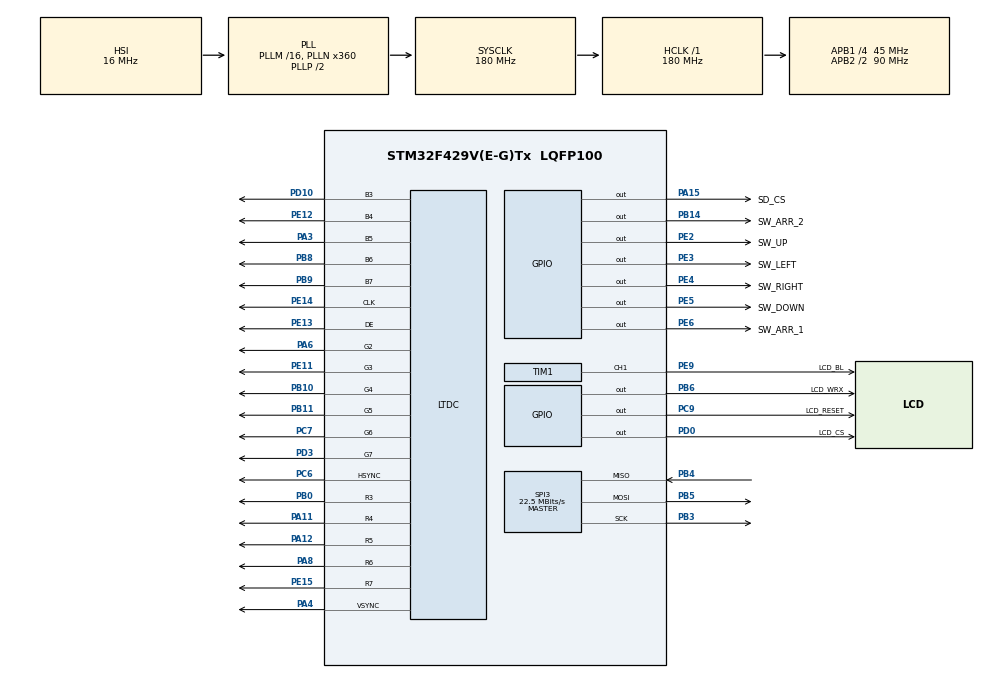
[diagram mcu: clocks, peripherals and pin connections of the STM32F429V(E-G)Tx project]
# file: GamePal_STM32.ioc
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Dma.Request0=SPI3_RX
Dma.Request1=SPI3_TX
Dma.SPI3_RX.0.Direction=DMA_PERIPH_TO_MEMORY
Dma.SPI3_RX.0.FIFOMode=DMA_FIFOMODE_DISABLE
Dma.SPI3_RX.0.Instance=DMA1_Stream2
Dma.SPI3_RX.0.MemDataAlignment=DMA_MDATAALIGN_BYTE
Dma.SPI3_RX.0.MemInc=DMA_MINC_ENABLE
Dma.SPI3_RX.0.Mode=DMA_NORMAL
Dma.SPI3_RX.0.PeriphDataAlignment=DMA_PDATAALIGN_BYTE
Dma.SPI3_RX.0.PeriphInc=DMA_PINC_DISABLE
Dma.SPI3_RX.0.Priority=DMA_PRIORITY_LOW
Dma.SPI3_TX.1.Direction=DMA_MEMORY_TO_PERIPH
Dma.SPI3_TX.1.FIFOMode=DMA_FIFOMODE_DISABLE
Dma.SPI3_TX.1.Instance=DMA1_Stream5
Dma.SPI3_TX.1.MemDataAlignment=DMA_MDATAALIGN_BYTE
Dma.SPI3_TX.1.MemInc=DMA_MINC_ENABLE
Dma.SPI3_TX.1.Mode=DMA_NORMAL
Dma.SPI3_TX.1.PeriphDataAlignment=DMA_PDATAALIGN_BYTE
Dma.SPI3_TX.1.PeriphInc=DMA_PINC_DISABLE
Dma.SPI3_TX.1.Priority=DMA_PRIORITY_LOW
LTDC.ActiveH=320
LTDC.ActiveW=240
LTDC.Alpha_L0=255
LTDC.BlendingFactor1_L0=LTDC_BLENDING_FACTOR1_CA
LTDC.BlendingFactor2_L0=LTDC_BLENDING_FACTOR2_CA
LTDC.Blue_L0=0
LTDC.DEPolarity=LTDC_DEPOLARITY_AL
LTDC.Green=0
LTDC.Green_L0=0
LTDC.HBP=10
LTDC.HFP=38
LTDC.HSync=10
LTDC.ImageHeight_L0=320
LTDC.ImageWidth_L0=240
LTDC.Layers=0
LTDC.PCPolarity=LTDC_PCPOLARITY_IPC
LTDC.PixelFormat_L0=LTDC_PIXEL_FORMAT_RGB565
LTDC.Red=0
LTDC.VBP=4
LTDC.VFP=8
LTDC.VSync=4
LTDC.WindowX1_L0=240
LTDC.WindowY0_L0=0
LTDC.WindowY1_L0=320
Mcu.Family=STM32F4
Mcu.Name=STM32F429V(E-G)Tx
Mcu.Package=LQFP100
NVIC.DMA1_Stream2_IRQn=true\:0\:0\:false\:false\:true\:false\:true\:true
NVIC.DMA1_Stream5_IRQn=true\:0\:0\:false\:false\:true\:false\:true\:true
NVIC.PriorityGroup=NVIC_PRIORITYGROUP_4
PA11.GPIO_Speed=GPIO_SPEED_FREQ_VERY_HIGH
PA11.Mode=RGB565
PA11.Signal=LTDC_R4
PA12.GPIO_Speed=GPIO_SPEED_FREQ_VERY_HIGH
PA12.Mode=RGB565
PA12.Signal=LTDC_R5
PA13.Mode=Serial_Wire
PA13.Signal=SYS_JTMS-SWDIO
PA14.Mode=Serial_Wire
PA14.Signal=SYS_JTCK-SWCLK
PA15.GPIO_Label=SD_CS
PA15.GPIO_Speed=GPIO_SPEED_FREQ_HIGH
PA15.Signal=GPIO_Output
PA3.GPIO_Speed=GPIO_SPEED_FREQ_VERY_HIGH
PA3.Mode=RGB565
PA3.Signal=LTDC_B5
PA4.GPIO_Speed=GPIO_SPEED_FREQ_VERY_HIGH
PA4.Mode=RGB565
PA4.Signal=LTDC_VSYNC
PA6.GPIO_Speed=GPIO_SPEED_FREQ_VERY_HIGH
PA6.Mode=RGB565
PA6.Signal=LTDC_G2
PA8.GPIO_Speed=GPIO_SPEED_FREQ_VERY_HIGH
PA8.Mode=RGB565
PA8.Signal=LTDC_R6
PB0.GPIO_Speed=GPIO_SPEED_FREQ_VERY_HIGH
PB0.Mode=RGB565
PB0.Signal=LTDC_R3
PB10.GPIO_Speed=GPIO_SPEED_FREQ_VERY_HIGH
PB10.Mode=RGB565
PB10.Signal=LTDC_G4
PB11.GPIO_Speed=GPIO_SPEED_FREQ_VERY_HIGH
PB11.Mode=RGB565
PB11.Signal=LTDC_G5
PB14.GPIO_Label=SW_ARR_2
PB14.Signal=GPIO_Output
PB3.Mode=Full_Duplex_Master
PB3.Signal=SPI3_SCK
PB4.Mode=Full_Duplex_Master
PB4.Signal=SPI3_MISO
PB5.Mode=Full_Duplex_Master
PB5.Signal=SPI3_MOSI
PB6.GPIO_Label=LCD_WRX
PB6.GPIO_Speed=GPIO_SPEED_FREQ_HIGH
PB6.PinState=GPIO_PIN_SET
PB6.Signal=GPIO_Output
PB8.GPIO_Speed=GPIO_SPEED_FREQ_VERY_HIGH
PB8.Mode=RGB565
PB8.Signal=LTDC_B6
PB9.GPIO_Speed=GPIO_SPEED_FREQ_VERY_HIGH
PB9.Mode=RGB565
PB9.Signal=LTDC_B7
PC6.GPIO_Speed=GPIO_SPEED_FREQ_VERY_HIGH
PC6.Mode=RGB565
PC6.Signal=LTDC_HSYNC
PC7.GPIO_Speed=GPIO_SPEED_FREQ_VERY_HIGH
PC7.Mode=RGB565
PC7.Signal=LTDC_G6
PC9.GPIO_Label=LCD_RESET
PC9.PinState=GPIO_PIN_SET
PC9.Signal=GPIO_Output
PD0.GPIO_Label=LCD_CS
PD0.GPIO_Speed=GPIO_SPEED_FREQ_HIGH
PD0.PinState=GPIO_PIN_SET
PD0.Signal=GPIO_Output
PD10.GPIO_Speed=GPIO_SPEED_FREQ_VERY_HIGH
PD10.Mode=RGB565
PD10.Signal=LTDC_B3
PD3.GPIO_Speed=GPIO_SPEED_FREQ_VERY_HIGH
PD3.Mode=RGB565
PD3.Signal=LTDC_G7
PE11.GPIO_Speed=GPIO_SPEED_FREQ_VERY_HIGH
PE11.Mode=RGB565
PE11.Signal=LTDC_G3
PE12.GPIO_Speed=GPIO_SPEED_FREQ_VERY_HIGH
PE12.Mode=RGB565
PE12.Signal=LTDC_B4
PE13.GPIO_Speed=GPIO_SPEED_FREQ_VERY_HIGH
PE13.Mode=RGB565
PE13.Signal=LTDC_DE
PE14.GPIO_Speed=GPIO_SPEED_FREQ_VERY_HIGH
PE14.Mode=RGB565
PE14.Signal=LTDC_CLK
PE15.GPIO_Speed=GPIO_SPEED_FREQ_VERY_HIGH
PE15.Mode=RGB565
PE15.Signal=LTDC_R7
PE2.GPIO_Label=SW_UP
PE2.Signal=GPIO_Output
PE3.GPIO_Label=SW_LEFT
PE3.Signal=GPIO_Output
PE4.GPIO_Label=SW_RIGHT
PE4.Signal=GPIO_Output
PE5.GPIO_Label=SW_DOWN
PE5.Signal=GPIO_Output
PE6.GPIO_Label=SW_ARR_1
PE6.Signal=GPIO_Output
PE9.GPIO_Label=LCD_BL
PE9.Signal=S_TIM1_CH1
ProjectManager.HeapSize=0x200
ProjectManager.StackSize=0x400
ProjectManager.TargetToolchain=STM32CubeIDE
RCC.48MHZClocksFreq_Value=90000000
RCC.AHBFreq_Value=180000000
RCC.APB1CLKDivider=RCC_HCLK_DIV4
RCC.APB1Freq_Value=45000000
RCC.APB1TimFreq_Value=90000000
RCC.APB2CLKDivider=RCC_HCLK_DIV2
RCC.APB2Freq_Value=90000000
RCC.APB2TimFreq_Value=180000000
RCC.CortexFreq_Value=180000000
RCC.HCLKFreq_Value=180000000
RCC.HSE_VALUE=25000000
RCC.HSI_VALUE=16000000
RCC.LSE_VALUE=32768
RCC.PLLN=360
RCC.PLLSAIN=140
RCC.PLLSAIR=5
RCC.SYSCLKFreq_VALUE=180000000
RCC.SYSCLKSource=RCC_SYSCLKSOURCE_PLLCLK
RCC.VCOOutputFreq_Value=360000000
SH.S_TIM1_CH1.0=TIM1_CH1,PWM Generation1 CH1
SPI3.BaudRatePrescaler=SPI_BAUDRATEPRESCALER_2
SPI3.CalculateBaudRate=22.5 MBits/s
SPI3.DataSize=SPI_DATASIZE_8BIT
SPI3.Direction=SPI_DIRECTION_2LINES
SPI3.Mode=SPI_MODE_MASTER
SPI3.VirtualType=VM_MASTER
TIM1.Channel-PWM\ Generation1\ CH1=TIM_CHANNEL_1
TIM1.Period=99
TIM1.Prescaler=15
board=custom

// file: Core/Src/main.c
/* USER CODE BEGIN Header */
/**
  ******************************************************************************
  * @file           : main.c
  * @brief          : Main program body
  ******************************************************************************
  * @attention
  *
  * Copyright (c) 2025 STMicroelectronics.
  * All rights reserved.
  *
  * This software is licensed under terms that can be found in the LICENSE file
  * in the root directory of this software component.
  * If no LICENSE file comes with this software, it is provided AS-IS.
  *
  ******************************************************************************
  */

/**
 * @file    main.c
 * @author  Atharv More, Mayuresh Pitale
 * @brief   Main file of the GamePal project.
 *          This file lets you select the game and runs that game.
 *
 *          This file is partially generated by STM32CubeMX.
 *          All the initialization code for peripherals is generated by STM32CubeMX.
 *
 * @date 2025-12-01
 *
 */

/* USER CODE END Header */
#include "main.h"

/* USER CODE BEGIN Includes */
#include "TFT_LCD.h"
#include "st7789v.h"
#include "User_Interface.h"
#include "Games/T_rex/T_rex.h"
#include "Games/Snake_game/Snake_game.h"

/* USER CODE END Includes */

/* USER CODE BEGIN PTD */

typedef enum
{
  GAME_SNAKE = 0,
  GAME_DINO_JUMP = 1
} GameList_t;

/* USER CODE END PTD */

/* USER CODE BEGIN PD */
#define Display_Game_List_Text_pos_x	10
#define Display_Game_List_Text_pos_y	10

#define LCD_BG_COLOR              0xFFFF
#define LCD_MENU_TEXT_COLOR	      0x0000
#define LCD_MENU_HIGHLIGHT_COLOR  0xFFE0

#define LCD_MENU_TEXT_FONT       &Font16
#define LCD_MENU_HEADER_FONT     &Font20

#define TOTAL_GAMES              2

/* USER CODE END PD */

LTDC_HandleTypeDef hltdc;

SPI_HandleTypeDef hspi3;
DMA_HandleTypeDef hdma_spi3_rx;
DMA_HandleTypeDef hdma_spi3_tx;

TIM_HandleTypeDef htim1;

/* USER CODE BEGIN PV */

GameList_t game_select_ind = 0;
uint8_t game_selected = 0;

/* USER CODE END PV */

void SystemClock_Config(void);
static void MX_GPIO_Init(void);
static void MX_DMA_Init(void);
static void MX_SPI3_Init(void);
static void MX_LTDC_Init(void);
static void MX_TIM1_Init(void);
/* USER CODE BEGIN PFP */
void display_game_list();
void select_game();

/* USER CODE END PFP */

int main(void)
{

  /* MCU Configuration--------------------------------------------------------*/

  /* Reset of all peripherals, Initializes the Flash interface and the Systick. */
  HAL_Init();

  /* Configure the system clock */
  SystemClock_Config();

  /* Initialize all configured peripherals */
  MX_GPIO_Init();
  MX_DMA_Init();
  MX_SPI3_Init();
  MX_LTDC_Init();
  MX_TIM1_Init();
  /* USER CODE BEGIN 2 */

  // LCD Display Backlight On
  HAL_TIM_PWM_Start(&htim1, TIM_CHANNEL_1);

  // Reload LTDC configuration
  HAL_LTDC_Reload(&hltdc,LTDC_SRCR_VBR);

  LCD_clear_screen();

  /* USER CODE END 2 */

  /* Infinite loop */
  while (1)
  {

    /* USER CODE BEGIN 3 */

    // Select Game from the Game List
    select_game();

	if(game_select_ind == GAME_SNAKE)
	{
		snake_gamePlay();
		game_selected = 0;
	}
	else if(game_select_ind == GAME_DINO_JUMP)
	{
		T_rex_main();
		game_selected = 0;
	}
  }
  /* USER CODE END 3 */
}

void SystemClock_Config(void)
{
  RCC_OscInitTypeDef RCC_OscInitStruct = {0};
  RCC_ClkInitTypeDef RCC_ClkInitStruct = {0};

  /** Configure the main internal regulator output voltage
  */
  __HAL_RCC_PWR_CLK_ENABLE();
  __HAL_PWR_VOLTAGESCALING_CONFIG(PWR_REGULATOR_VOLTAGE_SCALE1);

  /** Initializes the RCC Oscillators according to the specified parameters
  * in the RCC_OscInitTypeDef structure.
  */
  RCC_OscInitStruct.OscillatorType = RCC_OSCILLATORTYPE_HSI;
  RCC_OscInitStruct.HSIState = RCC_HSI_ON;
  RCC_OscInitStruct.HSICalibrationValue = RCC_HSICALIBRATION_DEFAULT;
  RCC_OscInitStruct.PLL.PLLState = RCC_PLL_ON;
  RCC_OscInitStruct.PLL.PLLSource = RCC_PLLSOURCE_HSI;
  RCC_OscInitStruct.PLL.PLLM = 16;
  RCC_OscInitStruct.PLL.PLLN = 360;
  RCC_OscInitStruct.PLL.PLLP = RCC_PLLP_DIV2;
  RCC_OscInitStruct.PLL.PLLQ = 4;
  if (HAL_RCC_OscConfig(&RCC_OscInitStruct) != HAL_OK)
  {
    Error_Handler();
  }

  /** Activate the Over-Drive mode
  */
  if (HAL_PWREx_EnableOverDrive() != HAL_OK)
  {
    Error_Handler();
  }

  /** Initializes the CPU, AHB and APB buses clocks
  */
  RCC_ClkInitStruct.ClockType = RCC_CLOCKTYPE_HCLK|RCC_CLOCKTYPE_SYSCLK
                              |RCC_CLOCKTYPE_PCLK1|RCC_CLOCKTYPE_PCLK2;
  RCC_ClkInitStruct.SYSCLKSource = RCC_SYSCLKSOURCE_PLLCLK;
  RCC_ClkInitStruct.AHBCLKDivider = RCC_SYSCLK_DIV1;
  RCC_ClkInitStruct.APB1CLKDivider = RCC_HCLK_DIV4;
  RCC_ClkInitStruct.APB2CLKDivider = RCC_HCLK_DIV2;

  if (HAL_RCC_ClockConfig(&RCC_ClkInitStruct, FLASH_LATENCY_5) != HAL_OK)
  {
    Error_Handler();
  }
}

static void MX_LTDC_Init(void)
{

  /* USER CODE BEGIN LTDC_Init 0 */
	st7789_Init();

  /* USER CODE END LTDC_Init 0 */

  LTDC_LayerCfgTypeDef pLayerCfg = {0};

  hltdc.Instance = LTDC;
  hltdc.Init.HSPolarity = LTDC_HSPOLARITY_AL;
  hltdc.Init.VSPolarity = LTDC_VSPOLARITY_AL;
  hltdc.Init.DEPolarity = LTDC_DEPOLARITY_AL;
  hltdc.Init.PCPolarity = LTDC_PCPOLARITY_IPC;
  hltdc.Init.HorizontalSync = 9;
  hltdc.Init.VerticalSync = 3;
  hltdc.Init.AccumulatedHBP = 19;
  hltdc.Init.AccumulatedVBP = 7;
  hltdc.Init.AccumulatedActiveW = 259;
  hltdc.Init.AccumulatedActiveH = 327;
  hltdc.Init.TotalWidth = 297;
  hltdc.Init.TotalHeigh = 335;
  hltdc.Init.Backcolor.Blue = 0;
  hltdc.Init.Backcolor.Green = 0;
  hltdc.Init.Backcolor.Red = 0;
  if (HAL_LTDC_Init(&hltdc) != HAL_OK)
  {
    Error_Handler();
  }
  pLayerCfg.WindowX0 = 0;
  pLayerCfg.WindowX1 = 240;
  pLayerCfg.WindowY0 = 0;
  pLayerCfg.WindowY1 = 320;
  pLayerCfg.PixelFormat = LTDC_PIXEL_FORMAT_RGB565;
  pLayerCfg.Alpha = 255;
  pLayerCfg.Alpha0 = 0;
  pLayerCfg.BlendingFactor1 = LTDC_BLENDING_FACTOR1_CA;
  pLayerCfg.BlendingFactor2 = LTDC_BLENDING_FACTOR2_CA;
  pLayerCfg.FBStartAdress = (uint32_t) &LCD_screen_matrix;  // Provide the address of the LCD screen matrix
  pLayerCfg.ImageWidth = 240;
  pLayerCfg.ImageHeight = 320;
  pLayerCfg.Backcolor.Blue = 0;
  pLayerCfg.Backcolor.Green = 0;
  pLayerCfg.Backcolor.Red = 0;
  if (HAL_LTDC_ConfigLayer(&hltdc, &pLayerCfg, 0) != HAL_OK)
  {
    Error_Handler();
  }

}

static void MX_SPI3_Init(void)
{

  /* SPI3 parameter configuration*/
  hspi3.Instance = SPI3;
  hspi3.Init.Mode = SPI_MODE_MASTER;
  hspi3.Init.Direction = SPI_DIRECTION_2LINES;
  hspi3.Init.DataSize = SPI_DATASIZE_8BIT;
  hspi3.Init.CLKPolarity = SPI_POLARITY_LOW;
  hspi3.Init.CLKPhase = SPI_PHASE_1EDGE;
  hspi3.Init.NSS = SPI_NSS_SOFT;
  hspi3.Init.BaudRatePrescaler = SPI_BAUDRATEPRESCALER_2;
  hspi3.Init.FirstBit = SPI_FIRSTBIT_MSB;
  hspi3.Init.TIMode = SPI_TIMODE_DISABLE;
  hspi3.Init.CRCCalculation = SPI_CRCCALCULATION_DISABLE;
  hspi3.Init.CRCPolynomial = 10;
  if (HAL_SPI_Init(&hspi3) != HAL_OK)
  {
    Error_Handler();
  }

}

static void MX_TIM1_Init(void)
{

  TIM_MasterConfigTypeDef sMasterConfig = {0};
  TIM_OC_InitTypeDef sConfigOC = {0};
  TIM_BreakDeadTimeConfigTypeDef sBreakDeadTimeConfig = {0};

  htim1.Instance = TIM1;
  htim1.Init.Prescaler = 15;
  htim1.Init.CounterMode = TIM_COUNTERMODE_UP;
  htim1.Init.Period = 99;
  htim1.Init.ClockDivision = TIM_CLOCKDIVISION_DIV1;
  htim1.Init.RepetitionCounter = 0;
  htim1.Init.AutoReloadPreload = TIM_AUTORELOAD_PRELOAD_DISABLE;
  if (HAL_TIM_PWM_Init(&htim1) != HAL_OK)
  {
    Error_Handler();
  }
  sMasterConfig.MasterOutputTrigger = TIM_TRGO_RESET;
  sMasterConfig.MasterSlaveMode = TIM_MASTERSLAVEMODE_DISABLE;
  if (HAL_TIMEx_MasterConfigSynchronization(&htim1, &sMasterConfig) != HAL_OK)
  {
    Error_Handler();
  }
  sConfigOC.OCMode = TIM_OCMODE_PWM1;
  sConfigOC.Pulse = 0;
  sConfigOC.OCPolarity = TIM_OCPOLARITY_HIGH;
  sConfigOC.OCNPolarity = TIM_OCNPOLARITY_HIGH;
  sConfigOC.OCFastMode = TIM_OCFAST_DISABLE;
  sConfigOC.OCIdleState = TIM_OCIDLESTATE_RESET;
  sConfigOC.OCNIdleState = TIM_OCNIDLESTATE_RESET;
  if (HAL_TIM_PWM_ConfigChannel(&htim1, &sConfigOC, TIM_CHANNEL_1) != HAL_OK)
  {
    Error_Handler();
  }
  sBreakDeadTimeConfig.OffStateRunMode = TIM_OSSR_DISABLE;
  sBreakDeadTimeConfig.OffStateIDLEMode = TIM_OSSI_DISABLE;
  sBreakDeadTimeConfig.LockLevel = TIM_LOCKLEVEL_OFF;
  sBreakDeadTimeConfig.DeadTime = 0;
  sBreakDeadTimeConfig.BreakState = TIM_BREAK_DISABLE;
  sBreakDeadTimeConfig.BreakPolarity = TIM_BREAKPOLARITY_HIGH;
  sBreakDeadTimeConfig.AutomaticOutput = TIM_AUTOMATICOUTPUT_DISABLE;
  if (HAL_TIMEx_ConfigBreakDeadTime(&htim1, &sBreakDeadTimeConfig) != HAL_OK)
  {
    Error_Handler();
  }
  /* USER CODE BEGIN TIM1_Init 2 */
  TIM1->CCR1 = 25;

  /* USER CODE END TIM1_Init 2 */
  HAL_TIM_MspPostInit(&htim1);

}

static void MX_DMA_Init(void)
{

  /* DMA controller clock enable */
  __HAL_RCC_DMA1_CLK_ENABLE();

  /* DMA interrupt init */
  /* DMA1_Stream2_IRQn interrupt configuration */
  HAL_NVIC_SetPriority(DMA1_Stream2_IRQn, 0, 0);
  HAL_NVIC_EnableIRQ(DMA1_Stream2_IRQn);
  /* DMA1_Stream5_IRQn interrupt configuration */
  HAL_NVIC_SetPriority(DMA1_Stream5_IRQn, 0, 0);
  HAL_NVIC_EnableIRQ(DMA1_Stream5_IRQn);

}

static void MX_GPIO_Init(void)
{
  GPIO_InitTypeDef GPIO_InitStruct = {0};

  /* GPIO Ports Clock Enable */
  __HAL_RCC_GPIOE_CLK_ENABLE();
  __HAL_RCC_GPIOA_CLK_ENABLE();
  __HAL_RCC_GPIOB_CLK_ENABLE();
  __HAL_RCC_GPIOD_CLK_ENABLE();
  __HAL_RCC_GPIOC_CLK_ENABLE();

  /*Configure GPIO pin Output Level */
  HAL_GPIO_WritePin(GPIOE, SW_UP_Pin|SW_LEFT_Pin|SW_RIGHT_Pin|SW_DOWN_Pin
                          |SW_ARR_1_Pin, GPIO_PIN_RESET);

  /*Configure GPIO pin Output Level */
  HAL_GPIO_WritePin(SW_ARR_2_GPIO_Port, SW_ARR_2_Pin, GPIO_PIN_RESET);

  /*Configure GPIO pin Output Level */
  HAL_GPIO_WritePin(LCD_RESET_GPIO_Port, LCD_RESET_Pin, GPIO_PIN_SET);

  /*Configure GPIO pin Output Level */
  HAL_GPIO_WritePin(SD_CS_GPIO_Port, SD_CS_Pin, GPIO_PIN_RESET);

  /*Configure GPIO pin Output Level */
  HAL_GPIO_WritePin(LCD_CS_GPIO_Port, LCD_CS_Pin, GPIO_PIN_SET);

  /*Configure GPIO pin Output Level */
  HAL_GPIO_WritePin(LCD_WRX_GPIO_Port, LCD_WRX_Pin, GPIO_PIN_SET);

  /*Configure GPIO pins : SW_UP_Pin SW_LEFT_Pin SW_RIGHT_Pin SW_DOWN_Pin
                           SW_ARR_1_Pin */
  GPIO_InitStruct.Pin = SW_UP_Pin|SW_LEFT_Pin|SW_RIGHT_Pin|SW_DOWN_Pin
                          |SW_ARR_1_Pin;
  GPIO_InitStruct.Mode = GPIO_MODE_OUTPUT_PP;
  GPIO_InitStruct.Pull = GPIO_NOPULL;
  GPIO_InitStruct.Speed = GPIO_SPEED_FREQ_LOW;
  HAL_GPIO_Init(GPIOE, &GPIO_InitStruct);

  /*Configure GPIO pin : SW_ARR_2_Pin */
  GPIO_InitStruct.Pin = SW_ARR_2_Pin;
  GPIO_InitStruct.Mode = GPIO_MODE_OUTPUT_PP;
  GPIO_InitStruct.Pull = GPIO_NOPULL;
  GPIO_InitStruct.Speed = GPIO_SPEED_FREQ_LOW;
  HAL_GPIO_Init(SW_ARR_2_GPIO_Port, &GPIO_InitStruct);

  /*Configure GPIO pin : LCD_RESET_Pin */
  GPIO_InitStruct.Pin = LCD_RESET_Pin;
  GPIO_InitStruct.Mode = GPIO_MODE_OUTPUT_PP;
  GPIO_InitStruct.Pull = GPIO_NOPULL;
  GPIO_InitStruct.Speed = GPIO_SPEED_FREQ_LOW;
  HAL_GPIO_Init(LCD_RESET_GPIO_Port, &GPIO_InitStruct);

  /*Configure GPIO pin : SD_CS_Pin */
  GPIO_InitStruct.Pin = SD_CS_Pin;
  GPIO_InitStruct.Mode = GPIO_MODE_OUTPUT_PP;
  GPIO_InitStruct.Pull = GPIO_NOPULL;
  GPIO_InitStruct.Speed = GPIO_SPEED_FREQ_HIGH;
  HAL_GPIO_Init(SD_CS_GPIO_Port, &GPIO_InitStruct);

  /*Configure GPIO pin : LCD_CS_Pin */
  GPIO_InitStruct.Pin = LCD_CS_Pin;
  GPIO_InitStruct.Mode = GPIO_MODE_OUTPUT_PP;
  GPIO_InitStruct.Pull = GPIO_NOPULL;
  GPIO_InitStruct.Speed = GPIO_SPEED_FREQ_HIGH;
  HAL_GPIO_Init(LCD_CS_GPIO_Port, &GPIO_InitStruct);

  /*Configure GPIO pin : LCD_WRX_Pin */
  GPIO_InitStruct.Pin = LCD_WRX_Pin;
  GPIO_InitStruct.Mode = GPIO_MODE_OUTPUT_PP;
  GPIO_InitStruct.Pull = GPIO_NOPULL;
  GPIO_InitStruct.Speed = GPIO_SPEED_FREQ_HIGH;
  HAL_GPIO_Init(LCD_WRX_GPIO_Port, &GPIO_InitStruct);

}

/* USER CODE BEGIN 4 */

/**
 * @brief Displays the game list on LCD display
 *
 */
void display_game_list()
{
  // Display Header
	uint16_t bg = LCD_BG_COLOR;
	LCD_Display_Text(Display_Game_List_Text_pos_x, Display_Game_List_Text_pos_y, "Select the game", LCD_MENU_TEXT_COLOR, bg, LCD_MENU_HEADER_FONT);

  // Display Game Options
  bg = (game_select_ind == 0) ? (LCD_MENU_HIGHLIGHT_COLOR) : (LCD_BG_COLOR);
	LCD_Display_Text(Display_Game_List_Text_pos_x, Display_Game_List_Text_pos_y + 20, "Snake Game", LCD_MENU_TEXT_COLOR, bg, LCD_MENU_TEXT_FONT);

  bg = (game_selected == 1) ? (LCD_MENU_HIGHLIGHT_COLOR) : (LCD_MENU_TEXT_COLOR);
	LCD_Display_Text(Display_Game_List_Text_pos_x, Display_Game_List_Text_pos_y + 40, "Dino Jump Game", LCD_MENU_TEXT_COLOR, bg, LCD_MENU_TEXT_FONT);
}

/**
 * @brief Selects Game from the game list on LCD display
 *
 */
void select_game()
{
	LCD_clear_screen();

  // Wait on the menu until a game is selected
	while(!game_selected)
	{
		display_game_list();  // Update game list display
		read_switch();        // Read switch states

    if(SW_A)
		{
      // If Pressed A button, select the game
			game_selected = 1;
		}
		else if(SW_up)
		{
      // Navigate the game list
			if(game_select_ind == 0)
        game_select_ind = TOTAL_GAMES - 1;
      else
        game_select_ind--;
		}
    else if (SW_down)
    {
      // Navigate the game list
      if(game_select_ind == TOTAL_GAMES - 1)
        game_select_ind = 0;
      else
        game_select_ind++;
    }
		HAL_Delay(200);
	}
}

/* USER CODE END 4 */

void Error_Handler(void)
{
  __disable_irq();
  while (1)
  {
  }
}
